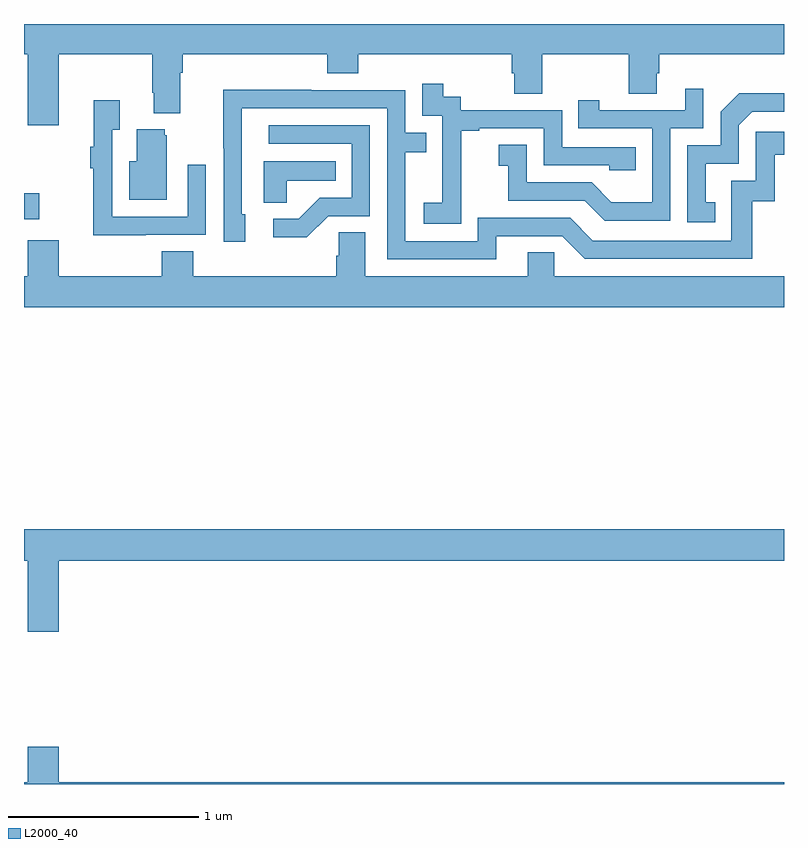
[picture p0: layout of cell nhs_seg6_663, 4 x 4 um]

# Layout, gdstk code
import gdstk
lib = gdstk.Library(unit=1e-6, precision=1e-09)
def R(c, l, rs):  # rectangles x0, y0, x1, y1
    for r in rs: c.add(gdstk.rectangle(r[:2], r[2:], *l))
def P(c, l, *ps):  # polygons
    for p in ps: c.add(gdstk.Polygon(p, *l))
L2000_40 = (2000, 40)

nhs_seg6_663 = lib.new_cell('nhs_seg6_663')
R(nhs_seg6_663, L2000_40, [(153,942.473,153.079,942.608)])
P(nhs_seg6_663, L2000_40, [(153,943.34),(153.02,943.34),(153.02,942.966),(153.184,942.966),(153.184,943.34),(153.676,943.34),(153.676,943.138),(153.683,943.138),(153.683,943.031),(153.823,943.031),(153.823,943.244),(153.836,943.244),(153.836,943.34),(154.595,943.34),(154.595,943.241),(154.76,943.241),(154.76,943.34),(155.567,943.34),(155.567,943.242),(155.579,943.242),(155.579,943.132),(155.727,943.132),(155.727,943.34),(156.184,943.34),(156.184,943.132),(156.331,943.132),(156.331,943.242),(156.344,943.242),(156.344,943.34),(157,943.34),(157,943.5),(153,943.5)],
  [(155.301,942.655),(155.3,942.655),(155.3,942.939),(155.395,942.939),(155.395,942.951),(155.736,942.951),(155.736,942.756),(156.081,942.756),(156.081,942.729),(156.221,942.729),(156.221,942.852),(155.832,942.852),(155.832,943.047),(155.298,943.047),(155.298,943.116),(155.206,943.116),(155.206,943.186),(155.097,943.186),(155.097,943.017),(155.202,943.017),(155.202,942.788),(155.201,942.788),(155.201,942.559),(155.103,942.559),(155.103,942.449),(155.301,942.449)],
  [(156.402,942.951),(156.576,942.951),(156.576,943.159),(156.479,943.159),(156.479,943.047),(156.028,943.047),(156.028,943.099),(155.917,943.099),(155.917,942.951),(156.306,942.951),(156.306,942.562),(156.092,942.562),(155.988,942.666),(155.646,942.666),(155.646,942.865),(155.499,942.865),(155.499,942.755),(155.548,942.755),(155.548,942.57),(155.951,942.57),(156.056,942.465),(156.402,942.465)],
  [(155.485,942.384),(155.832,942.384),(155.952,942.264),(156.832,942.264),(156.832,942.567),(156.95,942.567),(156.95,942.813),(157,942.813),(157,942.934),(156.852,942.934),(156.852,942.675),(156.723,942.675),(156.723,942.36),(155.994,942.36),(155.874,942.48),(155.388,942.48),(155.388,942.357),(155.007,942.357),(155.007,942.826),(155.117,942.826),(155.117,942.927),(155.007,942.927),(155.007,943.152),(154.511,943.152),(154.511,943.154),(154.048,943.154),(154.048,942.847),(154.05,942.847),(154.05,942.354),(154.165,942.354),(154.165,942.498),(154.146,942.498),(154.146,943.056),(154.911,943.056),(154.911,942.261),(155.485,942.261)],
  [(156.638,942.561),(156.589,942.561),(156.589,942.765),(156.762,942.765),(156.762,942.966),(156.834,943.038),(157,943.038),(157,943.136),(156.764,943.136),(156.666,943.038),(156.666,942.861),(156.492,942.861),(156.492,942.456),(156.638,942.456)],
  [(153.641,942.39),(153.957,942.39),(153.957,942.76),(153.861,942.76),(153.861,942.486),(153.465,942.486),(153.465,942.943),(153.505,942.943),(153.505,943.099),(153.368,943.099),(153.368,942.854),(153.349,942.854),(153.349,942.74),(153.364,942.74),(153.364,942.389),(153.641,942.389)],
  [(154.602,942.489),(154.821,942.489),(154.821,942.966),(154.287,942.966),(154.287,942.87),(154.725,942.87),(154.725,942.585),(154.556,942.585),(154.445,942.474),(154.311,942.474),(154.311,942.377),(154.489,942.377)],
  [(153.751,942.915),(153.74,942.915),(153.74,942.946),(153.593,942.946),(153.593,942.778),(153.554,942.778),(153.554,942.575),(153.751,942.575)],
  [(154.383,942.674),(154.64,942.674),(154.64,942.778),(154.262,942.778),(154.262,942.559),(154.383,942.559)],
  [(157,942.172),(155.79,942.172),(155.79,942.299),(155.651,942.299),(155.651,942.172),(154.795,942.172),(154.795,942.404),(154.656,942.404),(154.656,942.281),(154.643,942.281),(154.643,942.172),(153.89,942.172),(153.89,942.305),(153.725,942.305),(153.725,942.172),(153.184,942.172),(153.184,942.361),(153.02,942.361),(153.02,942.172),(153,942.172),(153,942.008),(157,942.008)],
  [(153,940.676),(153.02,940.676),(153.02,940.302),(153.184,940.302),(153.184,940.676),(157,940.676),(157,940.84),(153,940.84)],
  [(157,939.508),(153.184,939.508),(153.184,939.697),(153.02,939.697),(153.02,939.508),(153,939.508),(153,939.5),(157,939.5)])

lib.write_gds('nhs_seg6_663.gds')
